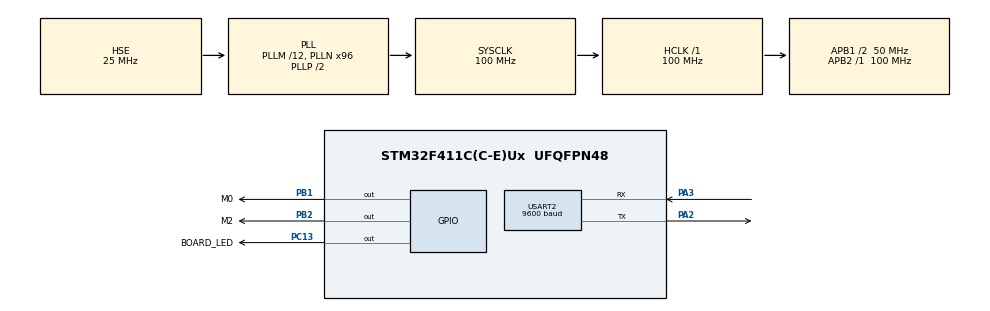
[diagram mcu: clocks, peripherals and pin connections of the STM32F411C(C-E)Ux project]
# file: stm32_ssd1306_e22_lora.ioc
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Dma.Request0=USART2_RX
Dma.Request1=USART2_TX
Dma.USART2_RX.0.Direction=DMA_PERIPH_TO_MEMORY
Dma.USART2_RX.0.FIFOMode=DMA_FIFOMODE_DISABLE
Dma.USART2_RX.0.Instance=DMA1_Stream5
Dma.USART2_RX.0.MemDataAlignment=DMA_MDATAALIGN_BYTE
Dma.USART2_RX.0.MemInc=DMA_MINC_ENABLE
Dma.USART2_RX.0.Mode=DMA_NORMAL
Dma.USART2_RX.0.PeriphDataAlignment=DMA_PDATAALIGN_BYTE
Dma.USART2_RX.0.PeriphInc=DMA_PINC_DISABLE
Dma.USART2_RX.0.Priority=DMA_PRIORITY_LOW
Dma.USART2_TX.1.Direction=DMA_MEMORY_TO_PERIPH
Dma.USART2_TX.1.FIFOMode=DMA_FIFOMODE_DISABLE
Dma.USART2_TX.1.Instance=DMA1_Stream6
Dma.USART2_TX.1.MemDataAlignment=DMA_MDATAALIGN_BYTE
Dma.USART2_TX.1.MemInc=DMA_MINC_ENABLE
Dma.USART2_TX.1.Mode=DMA_NORMAL
Dma.USART2_TX.1.PeriphDataAlignment=DMA_PDATAALIGN_BYTE
Dma.USART2_TX.1.PeriphInc=DMA_PINC_DISABLE
Dma.USART2_TX.1.Priority=DMA_PRIORITY_LOW
Mcu.Family=STM32F4
Mcu.Name=STM32F411C(C-E)Ux
Mcu.Package=UFQFPN48
NVIC.DMA1_Stream5_IRQn=true\:0\:0\:false\:false\:true\:false\:true\:true
NVIC.DMA1_Stream6_IRQn=true\:0\:0\:false\:false\:true\:false\:true\:true
NVIC.PriorityGroup=NVIC_PRIORITYGROUP_4
NVIC.TIM1_UP_TIM10_IRQn=true\:15\:0\:false\:false\:true\:false\:true\:true
NVIC.TimeBase=TIM1_UP_TIM10_IRQn
NVIC.TimeBaseIP=TIM10
NVIC.USART2_IRQn=true\:0\:0\:false\:false\:true\:true\:true\:true
PA13.Mode=Serial_Wire
PA13.Signal=SYS_JTMS-SWDIO
PA14.Mode=Serial_Wire
PA14.Signal=SYS_JTCK-SWCLK
PA2.Mode=Asynchronous
PA2.Signal=USART2_TX
PA3.Mode=Asynchronous
PA3.Signal=USART2_RX
PB1.GPIO_Label=M0
PB1.Signal=GPIO_Output
PB2.GPIO_Label=M2
PB2.Signal=GPIO_Output
PC13-ANTI_TAMP.GPIO_Label=BOARD_LED
PC13-ANTI_TAMP.Signal=GPIO_Output
PH0\ -\ OSC_IN.Mode=HSE-External-Oscillator
PH0\ -\ OSC_IN.Signal=RCC_OSC_IN
PH1\ -\ OSC_OUT.Mode=HSE-External-Oscillator
PH1\ -\ OSC_OUT.Signal=RCC_OSC_OUT
ProjectManager.HeapSize=0x200
ProjectManager.StackSize=0x400
ProjectManager.TargetToolchain=STM32CubeIDE
RCC.48MHZClocksFreq_Value=50000000
RCC.AHBFreq_Value=100000000
RCC.APB1CLKDivider=RCC_HCLK_DIV2
RCC.APB1Freq_Value=50000000
RCC.APB1TimFreq_Value=100000000
RCC.APB2Freq_Value=100000000
RCC.APB2TimFreq_Value=100000000
RCC.CortexFreq_Value=100000000
RCC.HCLKFreq_Value=100000000
RCC.HSE_VALUE=25000000
RCC.HSI_VALUE=16000000
RCC.LSE_VALUE=32768
RCC.PLLM=12
RCC.PLLN=96
RCC.PLLSourceVirtual=RCC_PLLSOURCE_HSE
RCC.SYSCLKFreq_VALUE=100000000
RCC.SYSCLKSource=RCC_SYSCLKSOURCE_PLLCLK
RCC.VCOOutputFreq_Value=200000000
USART2.BaudRate=9600
USART2.VirtualMode=VM_ASYNC
VP_SYS_VS_tim10.Mode=TIM10
board=custom

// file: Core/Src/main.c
/* USER CODE BEGIN Header */
/**
  ******************************************************************************
  * @file           : main.c
  * @brief          : Main program body
  ******************************************************************************
  * @attention
  *
  * Copyright (c) 2023 STMicroelectronics.
  * All rights reserved.
  *
  * This software is licensed under terms that can be found in the LICENSE file
  * in the root directory of this software component.
  * If no LICENSE file comes with this software, it is provided AS-IS.
  *
  ******************************************************************************
  */
/* USER CODE END Header */
#include "main.h"

/* USER CODE BEGIN Includes */
#include "FreeRTOS.h"
#include "task.h"
#include "e22900t22d.h"
/* USER CODE END Includes */

UART_HandleTypeDef huart2;
DMA_HandleTypeDef hdma_usart2_rx;
DMA_HandleTypeDef hdma_usart2_tx;

void SystemClock_Config(void);
static void MX_GPIO_Init(void);
static void MX_DMA_Init(void);
static void MX_USART2_UART_Init(void);
/* USER CODE BEGIN PFP */
static void led_toggle_task(void *parameter);
static void e22_handle_task(void *parameter);
static void e22_transmission_task(void *parameter);
static void main_e22_transceiverMode(void);
static void main_e22_configurationMode(void);
static void main_lora_packet_receive(uint8_t* dataPacket, uint8_t size);
/* USER CODE END PFP */

int main(void)
{

  /* MCU Configuration--------------------------------------------------------*/

  /* Reset of all peripherals, Initializes the Flash interface and the Systick. */
  HAL_Init();

  /* Configure the system clock */
  SystemClock_Config();

  /* Initialize all configured peripherals */
  MX_GPIO_Init();
  MX_DMA_Init();
  MX_USART2_UART_Init();
  /* USER CODE BEGIN 2 */
  //Initialize e22 LoRa module
  e22_lora_init(&huart2,
		  	  	HAL_UART_Transmit_DMA,
				HAL_UARTEx_ReceiveToIdle_DMA,
				main_lora_packet_receive,
				main_e22_configurationMode,
				main_e22_transceiverMode);

//  printf("E22 LoRa module initialized.\r\n");
  //Start FreeRTOS task creation
  xTaskCreate(led_toggle_task, "Toggle GPIO13", 128 * 4, NULL, 1, NULL);

  xTaskCreate(e22_handle_task, "E22 LoRa Handler", 128 * 4, NULL, 1, NULL);

  xTaskCreate(e22_transmission_task, "E22 LoRa Tx Task", 128 * 4, NULL, 1, NULL);

  vTaskStartScheduler();

  //The rest is not executed.
  /* USER CODE END 2 */

  /* Infinite loop */
  while (1)
  {

  }
}

void SystemClock_Config(void)
{
  RCC_OscInitTypeDef RCC_OscInitStruct = {0};
  RCC_ClkInitTypeDef RCC_ClkInitStruct = {0};

  /** Configure the main internal regulator output voltage
  */
  __HAL_RCC_PWR_CLK_ENABLE();
  __HAL_PWR_VOLTAGESCALING_CONFIG(PWR_REGULATOR_VOLTAGE_SCALE1);

  /** Initializes the RCC Oscillators according to the specified parameters
  * in the RCC_OscInitTypeDef structure.
  */
  RCC_OscInitStruct.OscillatorType = RCC_OSCILLATORTYPE_HSE;
  RCC_OscInitStruct.HSEState = RCC_HSE_ON;
  RCC_OscInitStruct.PLL.PLLState = RCC_PLL_ON;
  RCC_OscInitStruct.PLL.PLLSource = RCC_PLLSOURCE_HSE;
  RCC_OscInitStruct.PLL.PLLM = 12;
  RCC_OscInitStruct.PLL.PLLN = 96;
  RCC_OscInitStruct.PLL.PLLP = RCC_PLLP_DIV2;
  RCC_OscInitStruct.PLL.PLLQ = 4;
  if (HAL_RCC_OscConfig(&RCC_OscInitStruct) != HAL_OK)
  {
    Error_Handler();
  }

  /** Initializes the CPU, AHB and APB buses clocks
  */
  RCC_ClkInitStruct.ClockType = RCC_CLOCKTYPE_HCLK|RCC_CLOCKTYPE_SYSCLK
                              |RCC_CLOCKTYPE_PCLK1|RCC_CLOCKTYPE_PCLK2;
  RCC_ClkInitStruct.SYSCLKSource = RCC_SYSCLKSOURCE_PLLCLK;
  RCC_ClkInitStruct.AHBCLKDivider = RCC_SYSCLK_DIV1;
  RCC_ClkInitStruct.APB1CLKDivider = RCC_HCLK_DIV2;
  RCC_ClkInitStruct.APB2CLKDivider = RCC_HCLK_DIV1;

  if (HAL_RCC_ClockConfig(&RCC_ClkInitStruct, FLASH_LATENCY_3) != HAL_OK)
  {
    Error_Handler();
  }
}

static void MX_USART2_UART_Init(void)
{

  huart2.Instance = USART2;
  huart2.Init.BaudRate = 9600;
  huart2.Init.WordLength = UART_WORDLENGTH_8B;
  huart2.Init.StopBits = UART_STOPBITS_1;
  huart2.Init.Parity = UART_PARITY_NONE;
  huart2.Init.Mode = UART_MODE_TX_RX;
  huart2.Init.HwFlowCtl = UART_HWCONTROL_NONE;
  huart2.Init.OverSampling = UART_OVERSAMPLING_16;
  if (HAL_UART_Init(&huart2) != HAL_OK)
  {
    Error_Handler();
  }

}

static void MX_DMA_Init(void)
{

  /* DMA controller clock enable */
  __HAL_RCC_DMA1_CLK_ENABLE();

  /* DMA interrupt init */
  /* DMA1_Stream5_IRQn interrupt configuration */
  HAL_NVIC_SetPriority(DMA1_Stream5_IRQn, 0, 0);
  HAL_NVIC_EnableIRQ(DMA1_Stream5_IRQn);
  /* DMA1_Stream6_IRQn interrupt configuration */
  HAL_NVIC_SetPriority(DMA1_Stream6_IRQn, 0, 0);
  HAL_NVIC_EnableIRQ(DMA1_Stream6_IRQn);

}

static void MX_GPIO_Init(void)
{
  GPIO_InitTypeDef GPIO_InitStruct = {0};

  /* GPIO Ports Clock Enable */
  __HAL_RCC_GPIOC_CLK_ENABLE();
  __HAL_RCC_GPIOH_CLK_ENABLE();
  __HAL_RCC_GPIOA_CLK_ENABLE();
  __HAL_RCC_GPIOB_CLK_ENABLE();

  /*Configure GPIO pin Output Level */
  HAL_GPIO_WritePin(BOARD_LED_GPIO_Port, BOARD_LED_Pin, GPIO_PIN_RESET);

  /*Configure GPIO pin Output Level */
  HAL_GPIO_WritePin(GPIOB, M0_Pin|M2_Pin, GPIO_PIN_RESET);

  /*Configure GPIO pin : BOARD_LED_Pin */
  GPIO_InitStruct.Pin = BOARD_LED_Pin;
  GPIO_InitStruct.Mode = GPIO_MODE_OUTPUT_PP;
  GPIO_InitStruct.Pull = GPIO_NOPULL;
  GPIO_InitStruct.Speed = GPIO_SPEED_FREQ_LOW;
  HAL_GPIO_Init(BOARD_LED_GPIO_Port, &GPIO_InitStruct);

  /*Configure GPIO pins : M0_Pin M2_Pin */
  GPIO_InitStruct.Pin = M0_Pin|M2_Pin;
  GPIO_InitStruct.Mode = GPIO_MODE_OUTPUT_PP;
  GPIO_InitStruct.Pull = GPIO_NOPULL;
  GPIO_InitStruct.Speed = GPIO_SPEED_FREQ_LOW;
  HAL_GPIO_Init(GPIOB, &GPIO_InitStruct);

}

/* USER CODE BEGIN 4 */
static void led_toggle_task(void *parameter)
{
	 TickType_t xLastWakeTime;
	 const TickType_t xPeriod = 1000;

	for(;;)
	{
		xTaskDelayUntil( &xLastWakeTime, pdMS_TO_TICKS(xPeriod));

//		HAL_GPIO_TogglePin(BOARD_LED_GPIO_Port, BOARD_LED_Pin);
	}
}
/**
 * @brief 	LoRa module manager task
 */
static void e22_handle_task(void *parameter)
{
	 TickType_t xLastWakeTime;
	 const TickType_t xPeriod = 100;

	for(;;)
	{
		xTaskDelayUntil( &xLastWakeTime, pdMS_TO_TICKS(xPeriod));

		e22_lora_manager();
	}
}
/**
 * @brief 	LoRa Packet transmission task
 */
static void e22_transmission_task(void *parameter)
{
	 TickType_t xLastWakeTime;
	 const TickType_t xPeriod = 1000;

	 const uint8_t packetSize = 4;

	 const uint8_t receiverAddress = 0x09;

	 const uint8_t ComChannel = 0x12;

	 uint8_t packet[5] = "ping";

	for(;;)
	{
		xTaskDelayUntil( &xLastWakeTime, pdMS_TO_TICKS(xPeriod));
//		printf("E22 Tx task running. Attempting to send 'ping'...\r\n");
		e22_lora_transnit(packet, packetSize, receiverAddress, ComChannel);
	}
}
/**
 * @brief 	LoRa module transceiver mode selection.  when this mode is active, the module configuration can't be modified.
 *
 */
static void main_e22_transceiverMode(void)
{
	HAL_GPIO_WritePin(GPIOB, M0_Pin|M2_Pin, GPIO_PIN_RESET);
}
/**
 * @brief 	LoRa module config mode selection. when this mode is active, wireless communication is inactive.
 *
 */
static void main_e22_configurationMode(void)
{
	HAL_GPIO_WritePin(GPIOB, M0_Pin, GPIO_PIN_RESET);

	HAL_GPIO_WritePin(GPIOB, M2_Pin, GPIO_PIN_SET);
}
/**
 * @brief 	UART data transmission complete callback over DMA
 *
 * @param 	huart	:	Pointer to the UART handler
 */
void HAL_UART_TxCpltCallback(UART_HandleTypeDef *huart)
{
	//Change the TX line state to ready
	e22_lora_make_ready();
//	printf("UART TX complete. Packet sent from MCU to E22.\r\n");
}
/**
 * @brief 	UART data reception complete callback over DMA
 *
 * @param 	huart	:	Pointer to the UART handler
 *
 * @param 	Size	:	Packet size received over UART
 */
void HAL_UARTEx_RxEventCallback(UART_HandleTypeDef *huart, uint16_t Size)
{
	e22_lora_reception_complete(Size);
}
/**
 * @brief 	This function is a callback to receives a LoRa packet by copying it from the data packet buffer to the local LoRa packet buffer. It then
 * 			copies the LoRa packet to the main layer.
 *
 * @param 	dataPacket	:	dataPacket Pointer to the buffer containing the received data packet.
 *
 * @param 	size		:	size of the received data packet.
 */
static void main_lora_packet_receive(uint8_t* dataPacket, uint8_t size)
{
	uint8_t loraPacket[MAX_DATA_PACKET_SIZE] = {0};
	//Copy data to the main layer
	memcpy(&loraPacket, dataPacket, size);
	// TODO: implement main layer packet handling
//	printf("Received LoRa packet, size: %d, data: %s\r\n", size, loraPacket);
	if(0 == memcmp(loraPacket, "pong", size))
	{
		HAL_GPIO_TogglePin(BOARD_LED_GPIO_Port, BOARD_LED_Pin);
//		printf("Received 'pong'! Toggling LED.\r\n");
	}
}
/* USER CODE END 4 */

void HAL_TIM_PeriodElapsedCallback(TIM_HandleTypeDef *htim)
{
  if (htim->Instance == TIM10)
  {
    HAL_IncTick();
  }
}

void Error_Handler(void)
{
  __disable_irq();
  while (1)
  {
  }
}
